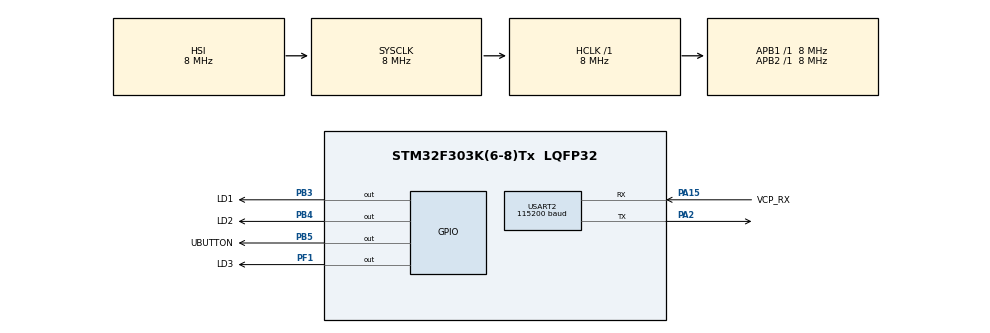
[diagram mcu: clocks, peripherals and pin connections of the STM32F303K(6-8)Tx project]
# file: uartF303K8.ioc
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Mcu.Family=STM32F3
Mcu.Name=STM32F303K(6-8)Tx
Mcu.Package=LQFP32
NVIC.PriorityGroup=NVIC_PRIORITYGROUP_4
NVIC.USART2_IRQn=true\:0\:0\:false\:false\:true\:true\:true\:true
PA13.GPIO_Label=SWDIO
PA13.Signal=SYS_JTMS-SWDIO
PA14.GPIO_Label=SWCLK
PA14.Signal=SYS_JTCK-SWCLK
PA15.GPIO_Label=VCP_RX
PA15.Mode=Asynchronous
PA15.Signal=USART2_RX
PA2.Mode=Asynchronous
PA2.Signal=USART2_TX
PB3.GPIO_Label=LD1
PB3.Signal=GPIO_Output
PB4.GPIO_Label=LD2
PB4.Signal=GPIO_Output
PB5.GPIO_Label=UBUTTON
PB5.Signal=GPIO_Output
PF0\ /\ OSC_IN.GPIO_Label=MCO
PF0\ /\ OSC_IN.Signal=RCC_OSC_IN
PF1\ /\ OSC_OUT.GPIO_Label=LD3
PF1\ /\ OSC_OUT.Signal=GPIO_Output
ProjectManager.HeapSize=0x200
ProjectManager.StackSize=0x400
ProjectManager.TargetToolchain=STM32CubeIDE
RCC.AHBFreq_Value=8000000
RCC.APB1Freq_Value=8000000
RCC.APB2Freq_Value=8000000
RCC.CortexFreq_Value=8000000
RCC.HSE_VALUE=8000000
RCC.HSI_VALUE=8000000
RCC.SYSCLKFreq_VALUE=8000000
USART2.BaudRate=115200
USART2.VirtualMode-Asynchronous=VM_ASYNC
board=NUCLEO-F303K8

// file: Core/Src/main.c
/* USER CODE BEGIN Header */
/**
  ******************************************************************************
  * @file           : main.c
  * @brief          : Main program body
  ******************************************************************************
  * @attention
  *
  * Copyright (c) 2025 STMicroelectronics.
  * All rights reserved.
  *
  * This software is licensed under terms that can be found in the LICENSE file
  * in the root directory of this software component.
  * If no LICENSE file comes with this software, it is provided AS-IS.
  *
  ******************************************************************************
  */
/* USER CODE END Header */
#include "main.h"

/* USER CODE BEGIN Includes */
#include <string.h>
#include <stdbool.h>
/* USER CODE END Includes */

UART_HandleTypeDef huart2;

/* USER CODE BEGIN PV */
uint8_t number0=123;
uint16_t number1=1234;
uint32_t number2 = 12345;
int number3 =-123456;
float number4 = -123456.789f;
/* USER CODE END PV */

void SystemClock_Config(void);
static void MX_GPIO_Init(void);
static void MX_USART2_UART_Init(void);
/* USER CODE BEGIN PFP */
char* utoa(uint32_t value, char* buffer);
void printUtoa(uint32_t value);
char* itoa(int value, char* buffer);
void printInt(int value);
void ftoa(float value, char* buffer, int precision);
void printFloat(float value, int precision);
/* USER CODE END PFP */

int main(void)
{

  /* MCU Configuration--------------------------------------------------------*/

  /* Reset of all peripherals, Initializes the Flash interface and the Systick. */
  HAL_Init();

  /* Configure the system clock */
  SystemClock_Config();

  /* Initialize all configured peripherals */
  MX_GPIO_Init();
  MX_USART2_UART_Init();

  /* Infinite loop */
  /* USER CODE BEGIN WHILE */
  while (1)
  {
	  printUtoa(number0);
	  HAL_UART_Transmit(&huart2, (uint8_t*)"\t", 1, HAL_MAX_DELAY);
	  printUtoa(number1);
	  HAL_UART_Transmit(&huart2, (uint8_t*)"\t", 1, HAL_MAX_DELAY);
	  printUtoa(number2);
	  HAL_UART_Transmit(&huart2, (uint8_t*)"\t", 1, HAL_MAX_DELAY);
	  printInt(number3);
	  HAL_UART_Transmit(&huart2, (uint8_t*)"\t", 1, HAL_MAX_DELAY);
	  printFloat(number4, 3);
	  HAL_UART_Transmit(&huart2, (uint8_t*)"\n", 1, HAL_MAX_DELAY);

    /* USER CODE END WHILE */

  }
}

void SystemClock_Config(void)
{
  RCC_OscInitTypeDef RCC_OscInitStruct = {0};
  RCC_ClkInitTypeDef RCC_ClkInitStruct = {0};

  /** Initializes the RCC Oscillators according to the specified parameters
  * in the RCC_OscInitTypeDef structure.
  */
  RCC_OscInitStruct.OscillatorType = RCC_OSCILLATORTYPE_HSI;
  RCC_OscInitStruct.HSIState = RCC_HSI_ON;
  RCC_OscInitStruct.HSICalibrationValue = RCC_HSICALIBRATION_DEFAULT;
  RCC_OscInitStruct.PLL.PLLState = RCC_PLL_NONE;
  if (HAL_RCC_OscConfig(&RCC_OscInitStruct) != HAL_OK)
  {
    Error_Handler();
  }

  /** Initializes the CPU, AHB and APB buses clocks
  */
  RCC_ClkInitStruct.ClockType = RCC_CLOCKTYPE_HCLK|RCC_CLOCKTYPE_SYSCLK
                              |RCC_CLOCKTYPE_PCLK1|RCC_CLOCKTYPE_PCLK2;
  RCC_ClkInitStruct.SYSCLKSource = RCC_SYSCLKSOURCE_HSI;
  RCC_ClkInitStruct.AHBCLKDivider = RCC_SYSCLK_DIV1;
  RCC_ClkInitStruct.APB1CLKDivider = RCC_HCLK_DIV1;
  RCC_ClkInitStruct.APB2CLKDivider = RCC_HCLK_DIV1;

  if (HAL_RCC_ClockConfig(&RCC_ClkInitStruct, FLASH_LATENCY_0) != HAL_OK)
  {
    Error_Handler();
  }
}

static void MX_USART2_UART_Init(void)
{

  huart2.Instance = USART2;
  huart2.Init.BaudRate = 115200;
  huart2.Init.WordLength = UART_WORDLENGTH_8B;
  huart2.Init.StopBits = UART_STOPBITS_1;
  huart2.Init.Parity = UART_PARITY_NONE;
  huart2.Init.Mode = UART_MODE_TX_RX;
  huart2.Init.HwFlowCtl = UART_HWCONTROL_NONE;
  huart2.Init.OverSampling = UART_OVERSAMPLING_16;
  huart2.Init.OneBitSampling = UART_ONE_BIT_SAMPLE_DISABLE;
  huart2.AdvancedInit.AdvFeatureInit = UART_ADVFEATURE_NO_INIT;
  if (HAL_UART_Init(&huart2) != HAL_OK)
  {
    Error_Handler();
  }

}

static void MX_GPIO_Init(void)
{
  GPIO_InitTypeDef GPIO_InitStruct = {0};

  /* GPIO Ports Clock Enable */
  __HAL_RCC_GPIOF_CLK_ENABLE();
  __HAL_RCC_GPIOA_CLK_ENABLE();
  __HAL_RCC_GPIOB_CLK_ENABLE();

  /*Configure GPIO pin Output Level */
  HAL_GPIO_WritePin(LD3_GPIO_Port, LD3_Pin, GPIO_PIN_RESET);

  /*Configure GPIO pin Output Level */
  HAL_GPIO_WritePin(GPIOB, LD1_Pin|LD2_Pin|UBUTTON_Pin, GPIO_PIN_RESET);

  /*Configure GPIO pin : LD3_Pin */
  GPIO_InitStruct.Pin = LD3_Pin;
  GPIO_InitStruct.Mode = GPIO_MODE_OUTPUT_PP;
  GPIO_InitStruct.Pull = GPIO_NOPULL;
  GPIO_InitStruct.Speed = GPIO_SPEED_FREQ_LOW;
  HAL_GPIO_Init(LD3_GPIO_Port, &GPIO_InitStruct);

  /*Configure GPIO pins : LD1_Pin LD2_Pin UBUTTON_Pin */
  GPIO_InitStruct.Pin = LD1_Pin|LD2_Pin|UBUTTON_Pin;
  GPIO_InitStruct.Mode = GPIO_MODE_OUTPUT_PP;
  GPIO_InitStruct.Pull = GPIO_NOPULL;
  GPIO_InitStruct.Speed = GPIO_SPEED_FREQ_LOW;
  HAL_GPIO_Init(GPIOB, &GPIO_InitStruct);

}

/* USER CODE BEGIN 4 */
char* utoa(uint32_t value, char* buffer) {
    char* ptr = buffer;
    char* ptr1 = buffer;
    char tmp_char;
    uint32_t tmp_value;
    do {
        tmp_value = value;
        value /= 10;
        *ptr++ = '0' + (tmp_value - (value * 10));
    } while (value != 0);

    *ptr-- = '\0';
    while (ptr1 < ptr) {
        tmp_char = *ptr;
        *ptr-- = *ptr1;
        *ptr1++ = tmp_char;
    }

    return buffer;
}
void printUtoa(uint32_t value) {
	static char buffer[12];
    utoa(value, buffer);
    HAL_UART_Transmit(&huart2, (uint8_t*)buffer, strlen(buffer), HAL_MAX_DELAY);
}
char* itoa(int value, char* buffer) {
    char* ptr = buffer;
    char* ptr1 = buffer;
    char tmp_char;
    int tmp_value;
    bool isNegative = false;

    if (value < 0) {
        isNegative = true;
        value = -value;
    }

    // Conversión a decimal fijo (base 10)
    do {
        tmp_value = value;
        value /= 10;
        *ptr++ = '0' + (tmp_value - (value * 10));
    } while (value != 0);

    if (isNegative) {
        *ptr++ = '-';
    }

    *ptr-- = '\0';

    while (ptr1 < ptr) {
        tmp_char = *ptr;
        *ptr-- = *ptr1;
        *ptr1++ = tmp_char;
    }

    return buffer;
}
void printInt(int value) {

	static char buffer[22];  // Suficiente para -2147483648 + '\0'
	itoa(value, buffer);     // Convertir número a decimal con signo
	HAL_UART_Transmit(&huart2, (uint8_t*)buffer, strlen(buffer), HAL_MAX_DELAY);
}

void ftoa(float value, char* buffer, int precision) {
    int int_part = (int)value;
    float decimal = value - (float)int_part;
    if (decimal < 0) decimal = -decimal;
    char* ptr = buffer;

    ptr = itoa(int_part, ptr);
    while (*ptr) ptr++;

    *ptr++ = '.';

    for (int i = 0; i < precision; i++) {
        decimal *= 10.0f;
        int digit = (int)decimal;
        *ptr++ = '0' + digit;
        decimal -= digit;
    }
    *ptr = '\0';

}
void printFloat(float value, int precision) {
    static char buffer[32];
    ftoa(value, buffer, precision);
    HAL_UART_Transmit(&huart2, (uint8_t*)buffer, strlen(buffer), HAL_MAX_DELAY);
}
/* USER CODE END 4 */

void Error_Handler(void)
{
  __disable_irq();
  while (1)
  {
  }
}
